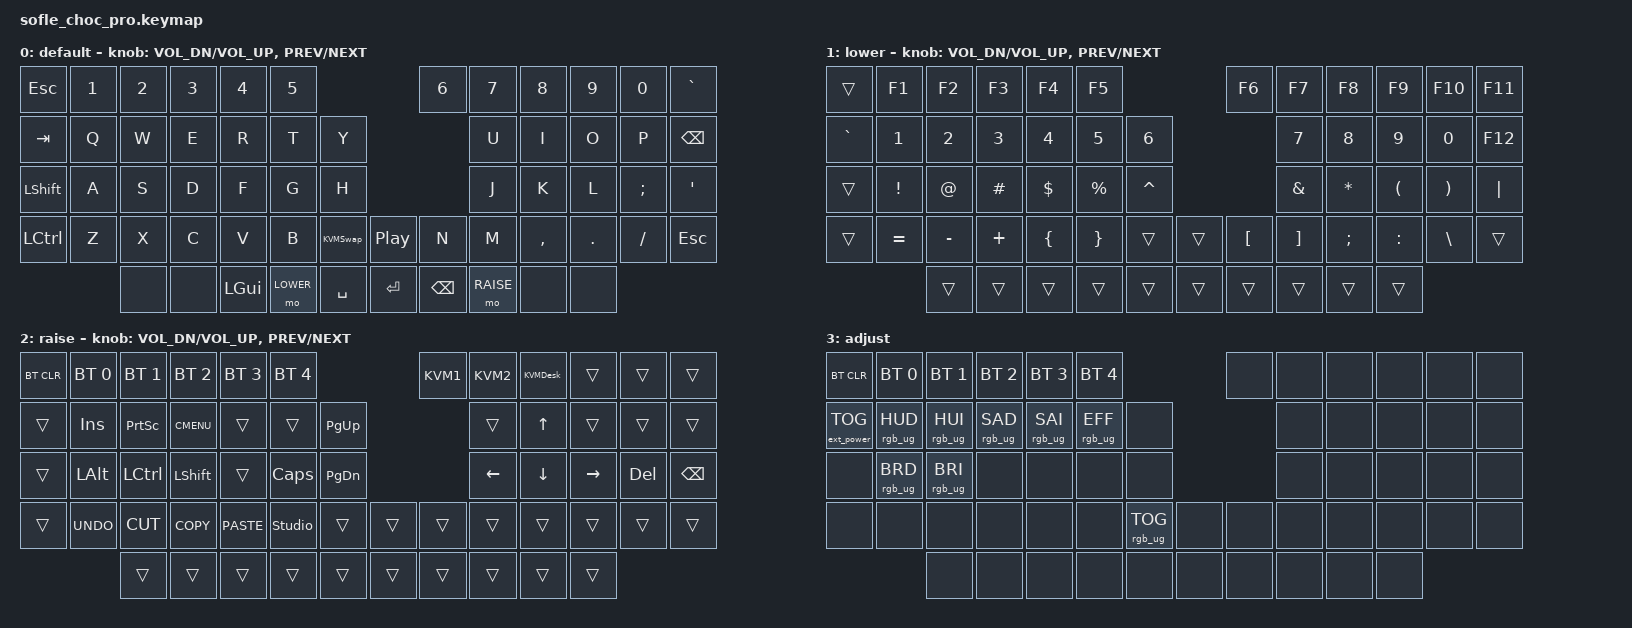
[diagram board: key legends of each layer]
/*
* Copyright (c) 2020 The ZMK Contributors
*
* SPDX-License-Identifier: MIT
*/

#include <behaviors.dtsi>
#include <dt-bindings/zmk/bt.h>
#include <dt-bindings/zmk/ext_power.h>
#include <dt-bindings/zmk/keys.h>
#include <dt-bindings/zmk/rgb.h>

#define BASE 0
#define LOWER 1
#define RAISE 2
#define ADJUST 3

/ {
    // Activate ADJUST layer by pressing raise and lower

    conditional_layers {
        compatible = "zmk,conditional-layers";

        adjust_layer {
            if-layers = <LOWER RAISE>;
            then-layer = <ADJUST>;
        };
    };

    macros {
        KVMSwap: KVMSwap {
            compatible = "zmk,behavior-macro";
            #binding-cells = <0>;
            bindings = <&kp RALT &kp RALT>;
            label = "KVMSwap";
        };

        KVM1: KVM1 {
            compatible = "zmk,behavior-macro";
            #binding-cells = <0>;
            bindings = <&kp RCTRL &kp RCTRL &kp N1>;
            label = "KVM1";
        };

        KVM2: KVM2 {
            compatible = "zmk,behavior-macro";
            #binding-cells = <0>;
            bindings = <&kp RCTRL &kp RCTRL &kp N2>;
            label = "KVM2";
        };

        KVMDesk: KVMDesk {
            compatible = "zmk,behavior-macro";
            #binding-cells = <0>;
            bindings = <&kp RCTRL &kp RCTRL &kp N1 &kp RCTRL &kp RCTRL &kp RIGHT &kp N2>;
            label = "KVMDESK";
        };
    };

    keymap {
        compatible = "zmk,keymap";

        default_layer {
            display-name = "default";

            // ------------------------------------------------------------------------------------------------------------
            // |  ESC  |  1  |  2  |  3   |  4   |  5   |                   |  6   |  7    |  8    |  9   |   0   |   `   |
            // |  TAB  |  Q  |  W  |  E   |  R   |  T   |                   |  Y   |  U    |  I    |  O   |   P   | BKSPC |
            // | SHIFT |  A  |  S  |  D   |  F   |  G   |                   |  H   |  J    |  K    |  L   |   ;   |   '   |
            // |  CTRL |  Z  |  X  |  C   |  V   |  B   |  MUTE  |  | PLAY  |  N   |  M    |  ,    |  .   |   /   |  ESC  |
            //               | --- | ---  | CTRL | LOWER|  SPACE |  | ENTER | RAISE| CTRL  | ---   | ---  |

            bindings = <
&kp ESC    &kp N1  &kp N2  &kp N3  &kp N4    &kp N5                                  &kp N6    &kp N7     &kp N8     &kp N9   &kp N0    &kp GRAVE
&kp TAB    &kp Q   &kp W   &kp E   &kp R     &kp T      &kp Y                                  &kp U      &kp I      &kp O    &kp P     &kp BSPC
&kp LSHFT  &kp A   &kp S   &kp D   &kp F     &kp G      &kp H                                  &kp J      &kp K      &kp L    &kp SEMI  &kp SQT
&kp LCTRL  &kp Z   &kp X   &kp C   &kp V     &kp B      &KVMSwap   &kp C_PLAY_PAUSE  &kp N     &kp M      &kp COMMA  &kp DOT  &kp FSLH  &kp ESC
                   &none   &none   &kp LGUI  &mo LOWER  &kp SPACE  &kp ENTER         &kp BSPC  &mo RAISE  &none      &none
            >;

            sensor-bindings = <&inc_dec_kp C_VOL_DN C_VOL_UP &inc_dec_kp C_PREV C_NEXT>;
        };

        lower_layer {
            display-name = "lower";

            // ------------------------------------------------------------------------------------------------------------
            // |       |  F1 |  F2 |  F3  |  F4  |  F5  |                   |  F6  |  F7   |  F8   |  F9  |  F10  |  F11  |
            // |   `   |  1  |  2  |  3   |  4   |  5   |                   |  6   |  7    |  8    |  9   |   0   |  F12  |
            // |       |  !  |  @  |  #   |  $   |  %   |                   |  ^   |  &    |  *    |  (   |   )   |   |   |
            // |       |  =  |  -  |  +   |  {   |  }   |        |  |       |  [   |  ]    |  ;    |  :   |   \   |       |
            //               |     |      |      |      |        |  |       |      |       |       |      |

            bindings = <
&trans     &kp F1     &kp F2     &kp F3    &kp F4    &kp F5                        &kp F6    &kp F7    &kp F8     &kp F9     &kp F10   &kp F11
&kp GRAVE  &kp N1     &kp N2     &kp N3    &kp N4    &kp N5     &kp N6                       &kp N7    &kp N8     &kp N9     &kp N0    &kp F12
&trans     &kp EXCL   &kp AT     &kp HASH  &kp DLLR  &kp PRCNT  &kp CARET                    &kp AMPS  &kp ASTRK  &kp LPAR   &kp RPAR  &kp PIPE
&trans     &kp EQUAL  &kp MINUS  &kp PLUS  &kp LBRC  &kp RBRC   &trans     &trans  &kp LBKT  &kp RBKT  &kp SEMI   &kp COLON  &kp BSLH  &trans
                      &trans     &trans    &trans    &trans     &trans     &trans  &trans    &trans    &trans     &trans
            >;

            sensor-bindings = <&inc_dec_kp C_VOL_DN C_VOL_UP &inc_dec_kp C_PREV C_NEXT>;
        };

        raise_layer {
            display-name = "raise";

            // ------------------------------------------------------------------------------------------------------------
            // | BTCLR | BT1  | BT2  |  BT3  |  BT4  |  BT5 |                |      |      |       |      |       |       |
            // |       | INS  | PSCR | GUI   |       |      |                | PGUP |      |   ^   |      |       |       |
            // |       | ALT  | CTRL | SHIFT |       | CAPS |                | PGDN |   <- |   v   |  ->  |  DEL  | BKSPC |
            // |       | UNDO | CUT  | COPY  | PASTE |      |      |  |      |      |      |       |      |       |       |
            //                |      |       |       |      |      |  |      |      |      |       |      |

            bindings = <
&bt BT_CLR  &bt BT_SEL 0  &bt BT_SEL 1  &bt BT_SEL 2  &bt BT_SEL 3  &bt BT_SEL 4                       &KVM1   &KVM2     &KVMDesk  &trans     &trans   &trans
&trans      &kp INS       &kp PSCRN     &kp K_CMENU   &trans        &trans          &kp PG_UP                  &trans    &kp UP    &trans     &trans   &trans
&trans      &kp LALT      &kp LCTRL     &kp LSHFT     &trans        &kp CLCK        &kp PG_DN                  &kp LEFT  &kp DOWN  &kp RIGHT  &kp DEL  &kp BSPC
&trans      &kp K_UNDO    &kp K_CUT     &kp K_COPY    &kp K_PASTE   &studio_unlock  &trans     &trans  &trans  &trans    &trans    &trans     &trans   &trans
                          &trans        &trans        &trans        &trans          &trans     &trans  &trans  &trans    &trans    &trans
            >;

            sensor-bindings = <&inc_dec_kp C_VOL_DN C_VOL_UP &inc_dec_kp C_PREV C_NEXT>;
        };

        adjust_layer {
            // ----------------------------------------------------------------------------------------------------------------------------
            // | BTCLR  |  BT1    |  BT2    |   BT3   |   BT4   |   BT5   |                  |      |      |       |      |       |       |
            // | EXTPWR | RGB_HUD | RGB_HUI | RGB_SAD | RGB_SAI | RGB_EFF |                  |      |      |       |      |       |       |
            // |        | RGB_BRD | RGB_BRI |         |         |         |                  |      |      |       |      |       |       |
            // |        |         |         |         |         |         | RGB_TOG | |      |      |      |       |      |       |       |
            //                    |         |         |         |         |         | |      |      |      |       |      |

            display-name = "adjust";
            bindings = <
&bt BT_CLR         &bt BT_SEL 0     &bt BT_SEL 1     &bt BT_SEL 2     &bt BT_SEL 3     &bt BT_SEL 4                             &none  &none  &none  &none  &none  &none
&ext_power EP_TOG  &rgb_ug RGB_HUD  &rgb_ug RGB_HUI  &rgb_ug RGB_SAD  &rgb_ug RGB_SAI  &rgb_ug RGB_EFF  &none                          &none  &none  &none  &none  &none
&none              &rgb_ug RGB_BRD  &rgb_ug RGB_BRI  &none            &none            &none            &none                          &none  &none  &none  &none  &none
&none              &none            &none            &none            &none            &none            &rgb_ug RGB_TOG  &none  &none  &none  &none  &none  &none  &none
                                    &none            &none            &none            &none            &none            &none  &none  &none  &none  &none
            >;
        };
    };
};
